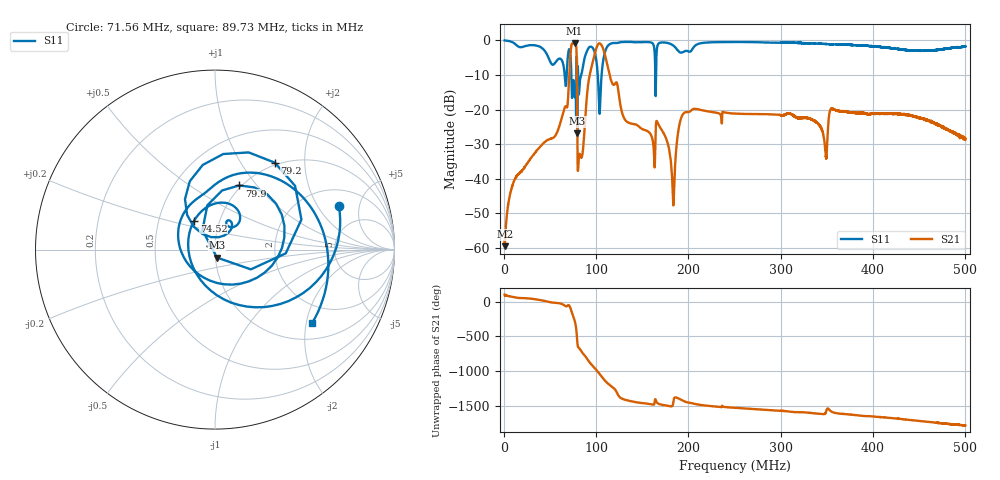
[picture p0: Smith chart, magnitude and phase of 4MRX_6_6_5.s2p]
! NanoVNA-App
! Date: 2026-08-19 17:58:39
! Start: 1MHz Stop: 500MHz Points: 6401
! S-Parameter data: F S11 S21 S12 S22
# Hz S RI R 50
!  Frequency  S11_Real  S11_Imag  S21_Real  S21_Imag  S12_Real  S12_Imag  S22_Real  S22_Imag
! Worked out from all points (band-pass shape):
!   6401 points, 1 MHz to 500 MHz, reference 50 ohm
!   highest |S21| = -0.82 dB at 76.79 MHz (marker M1); lowest = -59.6 dB at 1.156 MHz (marker M2)
!   |S21| within 3 dB of the highest: 72.42 MHz to 78.91 MHz (6.49 MHz wide, 8.58 % of centre); 98.7 MHz to 109.3 MHz (10.61 MHz wide, 10.2 % of centre)
!   lowest |S11| = -26.8 dB at 79.59 MHz (marker M3), VSWR 1.10, Z = 50.9 - j4.51 ohm
!   |S11| at or under -10 dB: 73.25 MHz to 78.8 MHz (5.551 MHz wide, 7.3 % of centre); 80.65 MHz to 84.01 MHz (3.364 MHz wide, 4.09 % of centre); 101.9 MHz to 106 MHz (4.172 MHz wide, 4.01 % of centre)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
!   S12 and S22 are empty: the file has one direction only
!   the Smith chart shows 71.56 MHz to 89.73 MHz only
!   S11 on the Smith chart (normalised r, x): 71.56 MHz: 2.98, +3.13; 74.52 MHz: 0.76, +0.25; 79.2 MHz: 0.96, +1.43; 79.9 MHz: 0.97, +0.82; 89.73 MHz: 1.44, -2.17
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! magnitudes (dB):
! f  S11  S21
! 1 MHz  0.0  -58.1
! 1.156 MHz  0.0  -59.6
! 12.38 MHz  -1.0  -40.0
! 58.54 MHz  -5.5  -26.2
! 71.56 MHz  -2.7  -7.5
! 74.52 MHz  -14.0  -0.8
! 76.79 MHz  -15.7  -0.8
! 79.2 MHz  -4.6  -7.8
! 79.59 MHz  -26.8  -18.7
! 79.9 MHz  -8.4  -32.0
! 84.19 MHz  -9.8  -33.9
! 89.73 MHz  -3.4  -17.4
! 104.2 MHz  -19.7  -0.9
! 111.9 MHz  -1.9  -6.8
! 131.8 MHz  -0.4  -23.1
! 167.4 MHz  -1.0  -24.2
! 183.4 MHz  -1.4  -46.4
! 195.1 MHz  -3.2  -21.1
! 250.5 MHz  -0.4  -21.2
! 333.7 MHz  -0.9  -22.8
! 416.9 MHz  -2.1  -21.3
! 500 MHz  -1.7  -28.7
